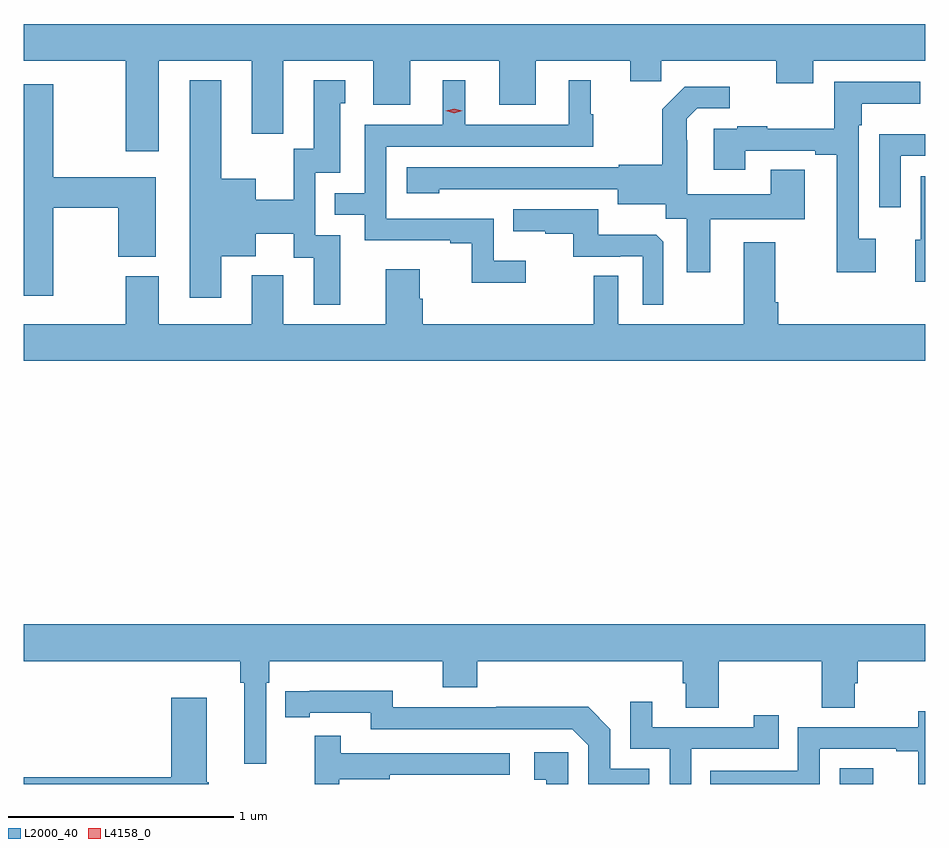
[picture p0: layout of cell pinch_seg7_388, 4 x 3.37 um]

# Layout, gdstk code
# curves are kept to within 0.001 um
import gdstk
lib = gdstk.Library(unit=1e-6, precision=1e-09)
def R(c, l, rs):  # rectangles x0, y0, x1, y1
    for r in rs: c.add(gdstk.rectangle(r[:2], r[2:], *l))
def P(c, l, *ps):  # polygons
    for p in ps: c.add(gdstk.Polygon(p, *l))
L2000_40 = (2000, 40)
L4158_0 = (4158, 0)

pinch_seg7_388 = lib.new_cell('pinch_seg7_388')
R(pinch_seg7_388, L2000_40, [(504.87,1006.73,505.018,1006.801)])
P(pinch_seg7_388, L2000_40, [(501.847,1009.94),(502.259,1009.94),(502.259,1009.617),(502.399,1009.617),(502.399,1009.94),(502.799,1009.94),(502.799,1009.746),(502.963,1009.746),(502.963,1009.94),(503.357,1009.94),(503.357,1009.746),(503.521,1009.746),(503.521,1009.94),(503.939,1009.94),(503.939,1009.85),(504.077,1009.85),(504.077,1009.94),(504.587,1009.94),(504.587,1009.841),(504.751,1009.841),(504.751,1009.94),(505.248,1009.94),(505.248,1010.104),(501.248,1010.104),(501.248,1009.94),(501.7,1009.94),(501.7,1009.539),(501.847,1009.539)],
  [(502.651,1009.167),(502.542,1009.167),(502.542,1009.443),(502.651,1009.443),(502.651,1009.752),(502.675,1009.752),(502.675,1009.855),(502.535,1009.855),(502.535,1009.551),(502.446,1009.551),(502.446,1009.324),(502.276,1009.324),(502.276,1009.417),(502.123,1009.417),(502.123,1009.855),(501.983,1009.855),(501.983,1008.888),(502.123,1008.888),(502.123,1009.073),(502.276,1009.073),(502.276,1009.172),(502.445,1009.172),(502.445,1009.066),(502.535,1009.066),(502.535,1008.858),(502.651,1008.858)],
  [(503.476,1009.054),(503.334,1009.054),(503.334,1009.239),(502.857,1009.239),(502.857,1009.56),(503.776,1009.56),(503.776,1009.704),(503.764,1009.704),(503.764,1009.855),(503.666,1009.855),(503.666,1009.656),(503.206,1009.656),(503.206,1009.855),(503.108,1009.855),(503.108,1009.656),(502.761,1009.656),(502.761,1009.353),(502.627,1009.353),(502.627,1009.257),(502.761,1009.257),(502.761,1009.143),(503.141,1009.143),(503.141,1009.131),(503.236,1009.131),(503.236,1008.956),(503.476,1008.956)],
  [(505.03,1009.15),(504.954,1009.15),(504.954,1009.655),(504.967,1009.655),(504.967,1009.751),(505.228,1009.751),(505.228,1009.848),(504.846,1009.848),(504.846,1009.64),(504.547,1009.64),(504.547,1009.651),(504.415,1009.651),(504.415,1009.638),(504.311,1009.638),(504.311,1009.458),(504.451,1009.458),(504.451,1009.542),(504.761,1009.542),(504.761,1009.524),(504.857,1009.524),(504.857,1009.002),(505.03,1009.002)],
  [(501.378,1009.288),(501.667,1009.288),(501.667,1009.07),(501.832,1009.07),(501.832,1009.424),(501.378,1009.424),(501.378,1009.837),(501.248,1009.837),(501.248,1008.897),(501.378,1008.897)],
  [(504.295,1009.238),(504.715,1009.238),(504.715,1009.457),(504.563,1009.457),(504.563,1009.348),(504.192,1009.348),(504.192,1009.589),(504.19,1009.589),(504.19,1009.684),(504.237,1009.731),(504.382,1009.731),(504.382,1009.825),(504.181,1009.825),(504.081,1009.725),(504.081,1009.48),(503.889,1009.48),(503.889,1009.467),(502.947,1009.467),(502.947,1009.352),(503.091,1009.352),(503.091,1009.37),(503.885,1009.371),(503.885,1009.304),(504.096,1009.304),(504.096,1009.24),(504.191,1009.24),(504.191,1009.002),(504.295,1009.002)],
  [(505.14,1009.518),(505.248,1009.518),(505.248,1009.615),(505.044,1009.615),(505.044,1009.29),(505.14,1009.29)],
  [(505.248,1009.428),(505.23,1009.428),(505.23,1009.146),(505.205,1009.146),(505.205,1008.959),(505.248,1008.959)],
  [(504.087,1009.137),(504.055,1009.169),(503.797,1009.169),(503.797,1009.281),(503.419,1009.281),(503.419,1009.184),(503.563,1009.184),(503.563,1009.173),(503.687,1009.173),(503.687,1009.071),(503.894,1009.071),(503.894,1009.074),(503.994,1009.074),(503.994,1008.857),(504.087,1008.857)],
  [(504.583,1008.868),(504.583,1009.135),(504.443,1009.135),(504.443,1008.772),(503.886,1008.772),(503.886,1008.986),(503.778,1008.986),(503.778,1008.772),(503.018,1008.772),(503.018,1008.885),(503.005,1008.885),(503.005,1009.015),(502.853,1009.015),(502.853,1008.772),(502.399,1008.772),(502.399,1008.988),(502.259,1008.988),(502.259,1008.772),(501.847,1008.772),(501.847,1008.985),(501.7,1008.985),(501.7,1008.772),(501.248,1008.772),(501.248,1008.608),(505.248,1008.608),(505.248,1008.772),(504.596,1008.772),(504.596,1008.868)],
  [(502.323,1007.18),(502.337,1007.18),(502.337,1007.276),(503.108,1007.276),(503.108,1007.159),(503.261,1007.159),(503.261,1007.276),(504.173,1007.276),(504.173,1007.178),(504.185,1007.178),(504.185,1007.068),(504.333,1007.068),(504.333,1007.276),(504.79,1007.276),(504.79,1007.068),(504.937,1007.068),(504.937,1007.178),(504.95,1007.178),(504.95,1007.276),(505.248,1007.276),(505.248,1007.44),(501.248,1007.44),(501.248,1007.276),(502.207,1007.276),(502.207,1007.18),(502.226,1007.18),(502.226,1006.821),(502.323,1006.821)],
  [(504.024,1006.797),(503.85,1006.797),(503.85,1006.974),(503.752,1007.072),(503.344,1007.072),(503.344,1007.07),(502.884,1007.07),(502.884,1007.143),(502.408,1007.142),(502.408,1007.026),(502.516,1007.026),(502.516,1007.046),(502.788,1007.046),(502.788,1006.974),(503.682,1006.974),(503.754,1006.902),(503.754,1006.73),(504.024,1006.73)],
  [(502.068,1006.737),(502.06,1006.737),(502.06,1007.113),(501.902,1007.113),(501.902,1006.76),(501.248,1006.76),(501.248,1006.73),(502.068,1006.73)],
  [(504.21,1006.887),(504.599,1006.887),(504.599,1007.035),(504.488,1007.035),(504.488,1006.983),(504.037,1006.983),(504.037,1007.095),(503.94,1007.095),(503.94,1006.887),(504.114,1006.887),(504.114,1006.73),(504.21,1006.73)],
  [(504.78,1006.887),(505.121,1006.887),(505.121,1006.875),(505.217,1006.875),(505.217,1006.73),(505.248,1006.73),(505.248,1007.052),(505.218,1007.052),(505.218,1006.983),(504.684,1006.983),(504.684,1006.788),(504.295,1006.788),(504.295,1006.73),(504.78,1006.73)],
  [(502.648,1006.75),(502.871,1006.75),(502.871,1006.77),(503.404,1006.77),(503.404,1006.866),(502.655,1006.866),(502.655,1006.945),(502.538,1006.945),(502.538,1006.73),(502.648,1006.73)],
  [(503.664,1006.87),(503.514,1006.87),(503.514,1006.749),(503.567,1006.749),(503.567,1006.73),(503.664,1006.73)])
P(pinch_seg7_388, L4158_0, [(503.157,1009.708),(503.121,1009.719),(503.121,1009.719),(503.121,1009.719),(503.157,1009.728),(503.193,1009.718),(503.193,1009.718),(503.193,1009.718)])

lib.write_gds('pinch_seg7_388.gds')
